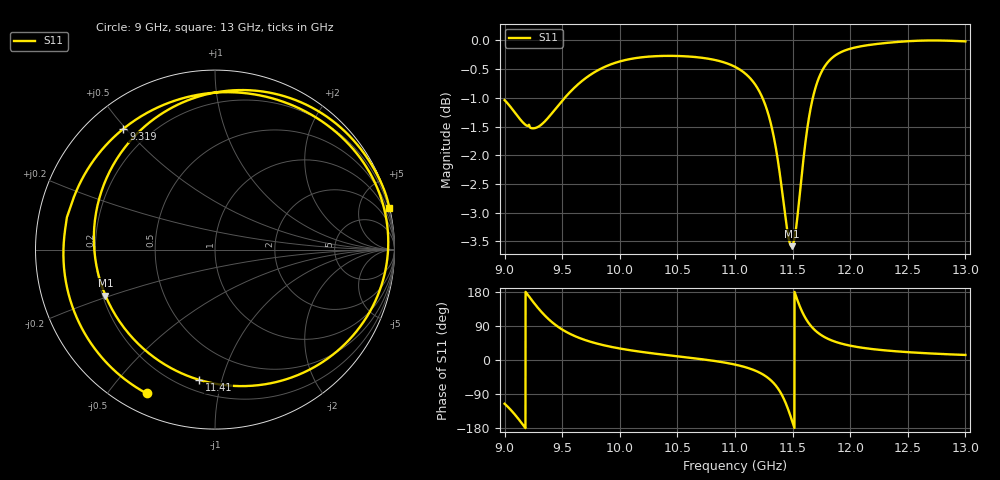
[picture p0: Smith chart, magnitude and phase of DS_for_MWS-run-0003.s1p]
! TOUCHSTONE file generated by CST DESIGN STUDIO
! Date and time: Tue Feb  4 12:52:43 2025
! Project name: C:\Work\MatlabApps\UnitCellOptimizationMatlab\CST\unitcell.cst
! Tree item: Tasks\Sweep1\SPara1\S-Parameters
! Header version: 2024
! Port assignment regex: !\s*Touchstone port\s*([0-9]+)\s*=\s*(CST MWS port|CST DES external port|CST DES block port)\s*(.+)\s* \(\"(.*)\"\)(\s*mode\s*([0-9]+))?.*
! Touchstone port assignment:
! Touchstone port 1 = CST DES external port 1 ("")
# GHz S MA R 50
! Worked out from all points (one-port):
!   4001 points, 9 GHz to 13 GHz, reference 50 ohm
!   lowest |S11| = -3.6 dB at 11.49 GHz (marker M1), VSWR 4.92, Z = 10.6 - j9.63 ohm
!   |S11| at or under -10 dB: nowhere
!   S11 on the Smith chart (normalised r, x): 9 GHz: 0.08, -0.63; 9.319 GHz: 0.10, +0.49; 11.41 GHz: 0.27, -0.85; 13 GHz: 0.07, +8.56
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9  0.8873 -115.5
9.078  0.8684 -140.0
9.169  0.8464 -174.9
9.233  0.8387 159.2
9.319  0.8447 127.2
9.4  0.8616 102.8
9.5  0.8861 80.4
9.711  0.9284 51.4
10  0.9588 30.3
10.5  0.9694 9.7
11  0.9485 -12.1
11.153  0.9217 -25.3
11.26  0.8804 -41.5
11.341  0.82 -62.7
11.415  0.7311 -96.9
11.453  0.684 -123.5
11.492  0.662 -157.3
11.5  0.6632 -164.6
11.537  0.6952 161.9
11.58  0.7646 129.2
11.613  0.8178 109.9
11.649  0.8647 93.7
11.716  0.9209 72.8
11.79  0.9529 58.4
11.881  0.9721 47.1
12  0.9836 37.8
12.5  0.9985 20.7
13  0.9982 13.3
